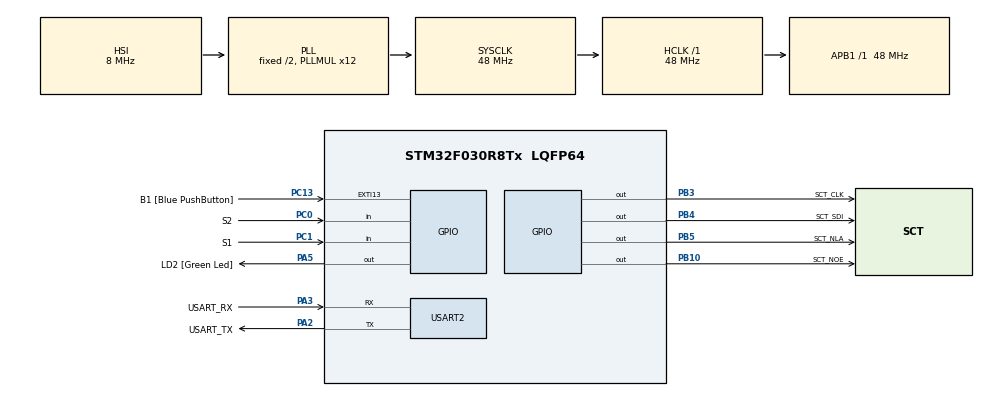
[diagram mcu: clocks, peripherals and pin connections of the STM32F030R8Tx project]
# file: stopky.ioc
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Mcu.Family=STM32F0
Mcu.Name=STM32F030R8Tx
Mcu.Package=LQFP64
PA13.GPIO_Label=TMS
PA13.Mode=Serial_Wire
PA13.Signal=SYS_SWDIO
PA14.GPIO_Label=TCK
PA14.Mode=Serial_Wire
PA14.Signal=SYS_SWCLK
PA2.GPIO_Label=USART_TX
PA2.GPIO_Mode=GPIO_MODE_AF_PP
PA2.GPIO_PuPd=GPIO_NOPULL
PA2.GPIO_Speed=GPIO_SPEED_FREQ_LOW
PA2.Mode=Asynchronous
PA2.Signal=USART2_TX
PA3.GPIO_Label=USART_RX
PA3.GPIO_Mode=GPIO_MODE_AF_PP
PA3.GPIO_PuPd=GPIO_NOPULL
PA3.GPIO_Speed=GPIO_SPEED_FREQ_LOW
PA3.Mode=Asynchronous
PA3.Signal=USART2_RX
PA5.GPIO_Label=LD2 [Green Led]
PA5.GPIO_Mode=GPIO_MODE_OUTPUT_PP
PA5.GPIO_PuPd=GPIO_NOPULL
PA5.GPIO_Speed=GPIO_SPEED_FREQ_LOW
PA5.Signal=GPIO_Output
PB10.GPIO_Label=SCT_NOE
PB10.Signal=GPIO_Output
PB3.GPIO_Label=SCT_CLK
PB3.Signal=GPIO_Output
PB4.GPIO_Label=SCT_SDI
PB4.Signal=GPIO_Output
PB5.GPIO_Label=SCT_NLA
PB5.Signal=GPIO_Output
PC0.GPIO_Label=S2
PC0.GPIO_PuPd=GPIO_PULLUP
PC0.Signal=GPIO_Input
PC1.GPIO_Label=S1
PC1.GPIO_PuPd=GPIO_PULLUP
PC1.Signal=GPIO_Input
PC13.GPIO_Label=B1 [Blue PushButton]
PC13.GPIO_ModeDefaultEXTI=GPIO_MODE_IT_FALLING
PC13.Signal=GPXTI13
PC14-OSC32_IN.Mode=LSE-External-Oscillator
PC14-OSC32_IN.Signal=RCC_OSC32_IN
PC15-OSC32_OUT.Mode=LSE-External-Oscillator
PC15-OSC32_OUT.Signal=RCC_OSC32_OUT
PF0-OSC_IN.Mode=HSE-External-Clock-Source
PF0-OSC_IN.Signal=RCC_OSC_IN
PF1-OSC_OUT.Signal=RCC_OSC_OUT
ProjectManager.HeapSize=0x200
ProjectManager.StackSize=0x400
ProjectManager.TargetToolchain=STM32CubeIDE
RCC.AHBFreq_Value=48000000
RCC.APB1Freq_Value=48000000
RCC.APB1TimFreq_Value=48000000
RCC.HCLKFreq_Value=48000000
RCC.PLLMUL=RCC_PLL_MUL12
RCC.SYSCLKFreq_VALUE=48000000
RCC.SYSCLKSource=RCC_SYSCLKSOURCE_PLLCLK
USART2.VirtualMode-Asynchronous=VM_ASYNC
board=NUCLEO-F030R8

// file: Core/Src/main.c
/* USER CODE BEGIN Header */
/**
  ******************************************************************************
  * @file           : main.c
  * @brief          : Main program body
  ******************************************************************************
  * @attention
  *
  * <h2><center>&copy; Copyright (c) 2021 STMicroelectronics.
  * All rights reserved.</center></h2>
  *
  * This software component is licensed by ST under BSD 3-Clause license,
  * the "License"; You may not use this file except in compliance with the
  * License. You may obtain a copy of the License at:
  *                        opensource.org/licenses/BSD-3-Clause
  *
  ******************************************************************************
  */
/* USER CODE END Header */
#include "main.h"

/* USER CODE BEGIN Includes */

#include "sct.h"
#include <stdbool.h>
/* USER CODE END Includes */

/* USER CODE BEGIN PD */

#define SHORT_DELAY 70
#define REFRESH		100

/* USER CODE END PD */

UART_HandleTypeDef huart2;

void SystemClock_Config(void);
static void MX_GPIO_Init(void);
static void MX_USART2_UART_Init(void);

int main(void)
{

  /* MCU Configuration--------------------------------------------------------*/

  /* Reset of all peripherals, Initializes the Flash interface and the Systick. */
  HAL_Init();

  /* USER CODE BEGIN Init */

  static enum { SHOW_VALUE, GET_BTNS, IDLE } state = IDLE;
  uint32_t time = 0;
  uint32_t start_time = 0;
  uint32_t stop_time = 0;
  uint32_t restart_time = 0;
  uint32_t lap_time = 0;
  uint32_t delay_button = 0;

  bool started = false;
  uint8_t S1_value = 0;				//1 lap time
  uint8_t S2_value = 0;				//1 start,2 stop,3 restart

  /* USER CODE END Init */

  /* Configure the system clock */
  SystemClock_Config();

  /* Initialize all configured peripherals */
  MX_GPIO_Init();
  MX_USART2_UART_Init();
  /* USER CODE BEGIN 2 */

  sct_init();
  sct_value(0);
  /* USER CODE END 2 */

  /* Infinite loop */
  while (1)
  {

    /* USER CODE BEGIN 3 */
	  switch (state)
	  {
		case SHOW_VALUE:
			time = HAL_GetTick();
			if (S1_value == 1)									//show lap time
			{
				sct_value((lap_time - start_time) / 100);
			}
			else if (S2_value == 1)								//show current time if stopwatch started
			{
				sct_value((time - start_time) / 100);
			}
			else if (S2_value == 2)								//show stopped stopwatch time
			{
				sct_value((stop_time - start_time) / 100);
			}
			else if (S2_value == 3)								//show restart time (00.0)
			{
				sct_value((time - restart_time) / 100);
			}

			state = IDLE;
			break;

		case GET_BTNS:
			delay_button = HAL_GetTick();
			state = IDLE;
			if (HAL_GPIO_ReadPin(S1_GPIO_Port, S1_Pin) == 0 && S1_value == 0)			//S1
			{
				lap_time = HAL_GetTick();
				S1_value = 1;
				state = IDLE;
			}
			else if (HAL_GPIO_ReadPin(S1_GPIO_Port, S1_Pin) == 0)
			{
				S1_value = 0;
			}

			if (HAL_GPIO_ReadPin(S2_GPIO_Port, S2_Pin) == 0)			//S2
			{
				S2_value++;												//increase value every button push
				if (S2_value == 4)
					S2_value = 1;

				switch (S2_value)
				{
					case 1:					//start
						start_time = HAL_GetTick();
						started = true;
						break;
					case 2:					//stop
						stop_time = HAL_GetTick();
						started = false;
						state = SHOW_VALUE;
						break;
					case 3:					//restart
						restart_time = HAL_GetTick();
						started = false;
						state = SHOW_VALUE;
						break;
				}
				state = IDLE;
			}
			break;

		case IDLE:
			if (HAL_GetTick() > delay_button + SHORT_DELAY)							//get button state
			{
				state = GET_BTNS;
			}
			else if ((HAL_GetTick() > time + REFRESH) && started == true)			//refresh display every 100 ms if stopwatch is started
			{
				state = SHOW_VALUE;
			}

			break;
	  }

  }
  /* USER CODE END 3 */
}

void SystemClock_Config(void)
{
  RCC_OscInitTypeDef RCC_OscInitStruct = {0};
  RCC_ClkInitTypeDef RCC_ClkInitStruct = {0};

  /** Initializes the RCC Oscillators according to the specified parameters
  * in the RCC_OscInitTypeDef structure.
  */
  RCC_OscInitStruct.OscillatorType = RCC_OSCILLATORTYPE_HSI;
  RCC_OscInitStruct.HSIState = RCC_HSI_ON;
  RCC_OscInitStruct.HSICalibrationValue = RCC_HSICALIBRATION_DEFAULT;
  RCC_OscInitStruct.PLL.PLLState = RCC_PLL_ON;
  RCC_OscInitStruct.PLL.PLLSource = RCC_PLLSOURCE_HSI;
  RCC_OscInitStruct.PLL.PLLMUL = RCC_PLL_MUL12;
  RCC_OscInitStruct.PLL.PREDIV = RCC_PREDIV_DIV1;
  if (HAL_RCC_OscConfig(&RCC_OscInitStruct) != HAL_OK)
  {
    Error_Handler();
  }
  /** Initializes the CPU, AHB and APB buses clocks
  */
  RCC_ClkInitStruct.ClockType = RCC_CLOCKTYPE_HCLK|RCC_CLOCKTYPE_SYSCLK
                              |RCC_CLOCKTYPE_PCLK1;
  RCC_ClkInitStruct.SYSCLKSource = RCC_SYSCLKSOURCE_PLLCLK;
  RCC_ClkInitStruct.AHBCLKDivider = RCC_SYSCLK_DIV1;
  RCC_ClkInitStruct.APB1CLKDivider = RCC_HCLK_DIV1;

  if (HAL_RCC_ClockConfig(&RCC_ClkInitStruct, FLASH_LATENCY_1) != HAL_OK)
  {
    Error_Handler();
  }
}

static void MX_USART2_UART_Init(void)
{

  huart2.Instance = USART2;
  huart2.Init.BaudRate = 38400;
  huart2.Init.WordLength = UART_WORDLENGTH_8B;
  huart2.Init.StopBits = UART_STOPBITS_1;
  huart2.Init.Parity = UART_PARITY_NONE;
  huart2.Init.Mode = UART_MODE_TX_RX;
  huart2.Init.HwFlowCtl = UART_HWCONTROL_NONE;
  huart2.Init.OverSampling = UART_OVERSAMPLING_16;
  huart2.Init.OneBitSampling = UART_ONE_BIT_SAMPLE_DISABLE;
  huart2.AdvancedInit.AdvFeatureInit = UART_ADVFEATURE_NO_INIT;
  if (HAL_UART_Init(&huart2) != HAL_OK)
  {
    Error_Handler();
  }

}

static void MX_GPIO_Init(void)
{
  GPIO_InitTypeDef GPIO_InitStruct = {0};

  /* GPIO Ports Clock Enable */
  __HAL_RCC_GPIOC_CLK_ENABLE();
  __HAL_RCC_GPIOF_CLK_ENABLE();
  __HAL_RCC_GPIOA_CLK_ENABLE();
  __HAL_RCC_GPIOB_CLK_ENABLE();

  /*Configure GPIO pin Output Level */
  HAL_GPIO_WritePin(LD2_GPIO_Port, LD2_Pin, GPIO_PIN_RESET);

  /*Configure GPIO pin Output Level */
  HAL_GPIO_WritePin(GPIOB, SCT_NOE_Pin|SCT_CLK_Pin|SCT_SDI_Pin|SCT_NLA_Pin, GPIO_PIN_RESET);

  /*Configure GPIO pin : B1_Pin */
  GPIO_InitStruct.Pin = B1_Pin;
  GPIO_InitStruct.Mode = GPIO_MODE_IT_FALLING;
  GPIO_InitStruct.Pull = GPIO_NOPULL;
  HAL_GPIO_Init(B1_GPIO_Port, &GPIO_InitStruct);

  /*Configure GPIO pins : S2_Pin S1_Pin */
  GPIO_InitStruct.Pin = S2_Pin|S1_Pin;
  GPIO_InitStruct.Mode = GPIO_MODE_INPUT;
  GPIO_InitStruct.Pull = GPIO_PULLUP;
  HAL_GPIO_Init(GPIOC, &GPIO_InitStruct);

  /*Configure GPIO pin : LD2_Pin */
  GPIO_InitStruct.Pin = LD2_Pin;
  GPIO_InitStruct.Mode = GPIO_MODE_OUTPUT_PP;
  GPIO_InitStruct.Pull = GPIO_NOPULL;
  GPIO_InitStruct.Speed = GPIO_SPEED_FREQ_LOW;
  HAL_GPIO_Init(LD2_GPIO_Port, &GPIO_InitStruct);

  /*Configure GPIO pins : SCT_NOE_Pin SCT_CLK_Pin SCT_SDI_Pin SCT_NLA_Pin */
  GPIO_InitStruct.Pin = SCT_NOE_Pin|SCT_CLK_Pin|SCT_SDI_Pin|SCT_NLA_Pin;
  GPIO_InitStruct.Mode = GPIO_MODE_OUTPUT_PP;
  GPIO_InitStruct.Pull = GPIO_NOPULL;
  GPIO_InitStruct.Speed = GPIO_SPEED_FREQ_LOW;
  HAL_GPIO_Init(GPIOB, &GPIO_InitStruct);

}

void Error_Handler(void)
{
}

/************************ (C) COPYRIGHT STMicroelectronics *****END OF FILE****/
